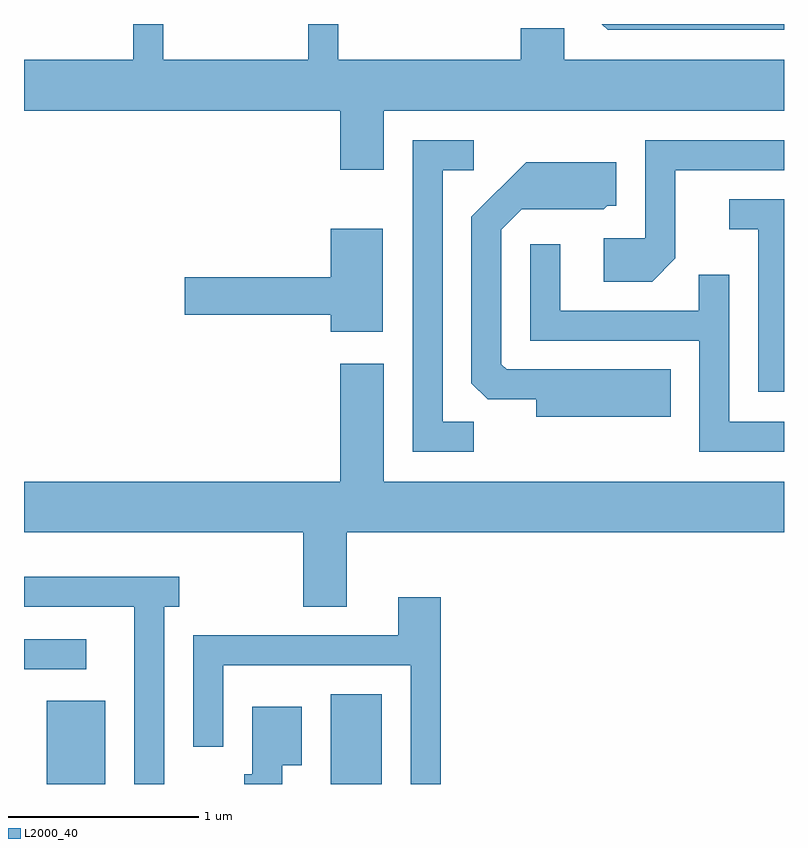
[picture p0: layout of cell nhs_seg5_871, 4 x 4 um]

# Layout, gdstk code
import gdstk
lib = gdstk.Library(unit=1e-6, precision=1e-09)
def R(c, l, rs):  # rectangles x0, y0, x1, y1
    for r in rs: c.add(gdstk.rectangle(r[:2], r[2:], *l))
def P(c, l, *ps):  # polygons
    for p in ps: c.add(gdstk.Polygon(p, *l))
L2000_40 = (2000, 40)

nhs_seg5_871 = lib.new_cell('nhs_seg5_871')
R(nhs_seg5_871, L2000_40, [(209.731,1522.072,210.039,1522.509), (211.226,1522.072,211.494,1522.544), (209.611,1522.676,209.938,1522.834), (211.586,1526.071,211.973,1526.072)])
P(nhs_seg5_871, L2000_40, [(211.504,1525.616),(213.611,1525.616),(213.611,1525.884),(212.454,1525.884),(212.454,1526.049),(212.226,1526.049),(212.226,1525.884),(211.264,1525.884),(211.264,1526.072),(211.106,1526.072),(211.106,1525.884),(210.344,1525.884),(210.344,1526.072),(210.186,1526.072),(210.186,1525.884),(209.611,1525.884),(209.611,1525.616),(211.276,1525.616),(211.276,1525.306),(211.504,1525.306)],
  [(213.611,1526.072),(212.653,1526.072),(212.684,1526.041),(213.611,1526.041)],
  [(211.978,1523.979),(211.814,1523.979),(211.814,1525.301),(211.978,1525.301),(211.978,1525.459),(211.656,1525.459),(211.656,1523.821),(211.978,1523.821)],
  [(213.039,1524.839),(213.039,1525.301),(213.611,1525.301),(213.611,1525.459),(212.881,1525.459),(212.881,1524.944),(212.661,1524.944),(212.661,1524.716),(212.917,1524.716)],
  [(213.014,1524.254),(212.152,1524.254),(212.124,1524.282),(212.124,1524.989),(212.232,1525.096),(212.662,1525.096),(212.682,1525.116),(212.729,1525.116),(212.729,1525.344),(212.254,1525.344),(211.966,1525.057),(211.966,1524.182),(212.052,1524.096),(212.306,1524.096),(212.306,1524.006),(213.014,1524.006)],
  [(213.611,1525.149),(213.323,1525.149),(213.323,1524.991),(213.476,1524.991),(213.476,1524.136),(213.611,1524.136)],
  [(211.499,1524.994),(211.226,1524.994),(211.226,1524.739),(210.456,1524.739),(210.456,1524.541),(211.226,1524.541),(211.226,1524.451),(211.499,1524.451)],
  [(213.611,1523.979),(213.324,1523.979),(213.324,1524.753),(213.161,1524.753),(213.161,1524.564),(212.434,1524.564),(212.434,1524.913),(212.276,1524.913),(212.276,1524.406),(213.166,1524.406),(213.166,1523.821),(213.611,1523.821)],
  [(211.309,1523.396),(213.611,1523.396),(213.611,1523.664),(211.504,1523.664),(211.504,1524.284),(211.276,1524.284),(211.276,1523.664),(209.611,1523.664),(209.611,1523.396),(211.081,1523.396),(211.081,1523.006),(211.309,1523.006)],
  [(210.349,1523.006),(210.428,1523.006),(210.428,1523.164),(209.611,1523.164),(209.611,1523.006),(210.191,1523.006),(210.191,1522.072),(210.349,1522.072)],
  [(211.804,1523.054),(211.581,1523.054),(211.581,1522.854),(210.501,1522.854),(210.501,1522.268),(210.659,1522.268),(210.659,1522.696),(211.646,1522.696),(211.646,1522.072),(211.804,1522.072)],
  [(210.969,1522.171),(211.074,1522.171),(211.074,1522.479),(210.811,1522.479),(210.811,1522.124),(210.771,1522.124),(210.771,1522.072),(210.969,1522.072)])

lib.write_gds('nhs_seg5_871.gds')
